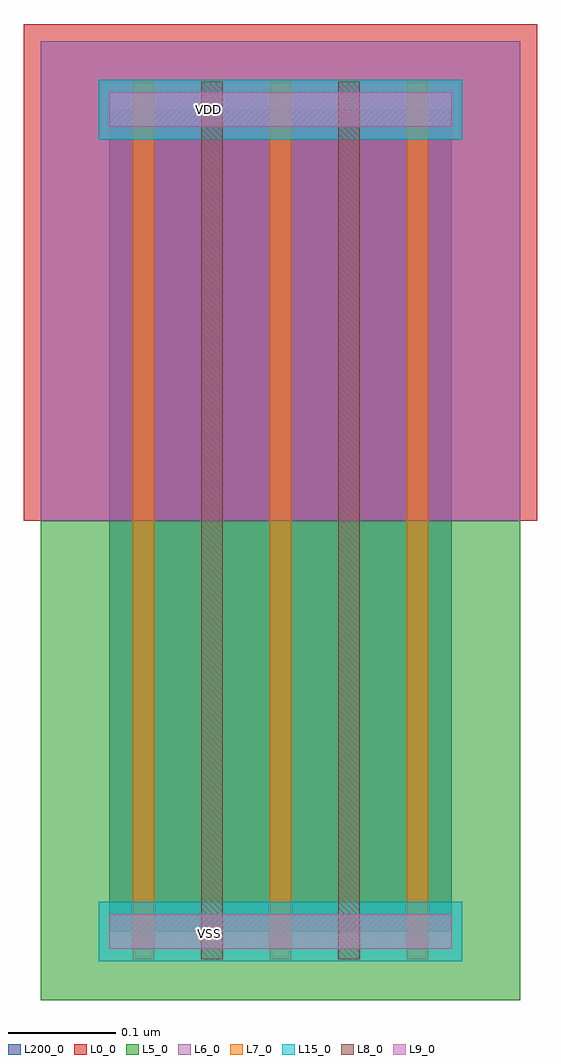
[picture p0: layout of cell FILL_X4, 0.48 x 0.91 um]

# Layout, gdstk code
import gdstk
lib = gdstk.Library(unit=1e-6, precision=1e-09)
def R(c, l, rs):  # rectangles x0, y0, x1, y1
    for r in rs: c.add(gdstk.rectangle(r[:2], r[2:], *l))
def A(c, l, x, y, w, h, nx, ny, dx, dy):  # array of equal rectangles
    R(c, l, [(x+i*dx, y+j*dy, x+i*dx+w, y+j*dy+h) for i in range(nx) for j in range(ny)])
L0_0 = (0, 0)
L5_0 = (5, 0)
L6_0 = (6, 0)
L7_0 = (7, 0)
L8_0 = (8, 0)
L9_0 = (9, 0)
L15_0 = (15, 0)
L200_0 = (200, 0)

fill_x4 = lib.new_cell('FILL_X4')
R(fill_x4, L0_0, [(-0.08,0.384,0.4,0.848)])
R(fill_x4, L5_0, [(-0.064,-0.064,0.384,0.384)])
R(fill_x4, L6_0, [(-0.064,0.384,0.384,0.832)])
A(fill_x4, L7_0, 0.022, -0.026, 0.02, 0.82, 3, 1, 0.128, 0)
R(fill_x4, L8_0, [(0.086,-0.026,0.106,0.794), (0.214,-0.026,0.234,0.794)])
R(fill_x4, L9_0, [(0,-0.016,0.32,0.016), (0,0.752,0.32,0.784)])
R(fill_x4, L15_0, [(-0.01,-0.028,0.33,0.028), (-0.01,0.74,0.33,0.796)])
R(fill_x4, L200_0, [(0,0,0.32,0.768)])
fill_x4.add(gdstk.Label('VSS', (0.094,-0.002), layer=15, texttype=20))
fill_x4.add(gdstk.Label('VDD', (0.093,0.768), layer=15, texttype=20))

lib.write_gds('FILL_X4.gds')
